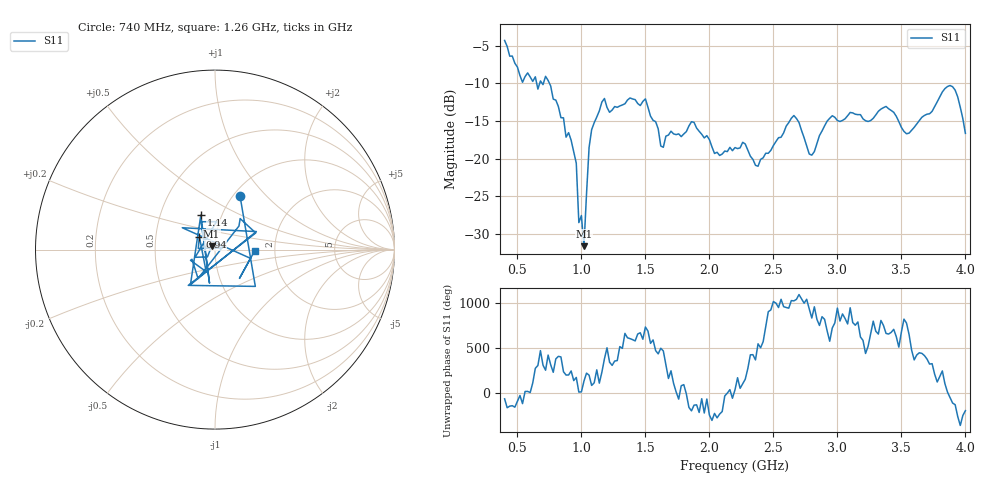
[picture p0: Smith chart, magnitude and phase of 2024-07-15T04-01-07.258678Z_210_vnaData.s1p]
!Created with skrf (http://scikit-rf.org).
# Hz S RI R 50.0
!freq ReS11 ImS11
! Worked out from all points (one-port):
!   181 points, 400 MHz to 4 GHz, reference 50 ohm
!   lowest |S11| = -31.6 dB at 1.02 GHz (marker M1), VSWR 1.05, Z = 48.1 + j1.78 ohm
!   |S11| at or under -10 dB: 650.8 MHz to 674 MHz (23.2 MHz wide, 3.5 % of centre); 693.5 MHz to 702.9 MHz (9.403 MHz wide, 1.35 % of centre); 750.7 MHz to end of sweep
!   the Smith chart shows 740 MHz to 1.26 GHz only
!   S11 on the Smith chart (normalised r, x): 740 MHz: 1.07, +0.72; 940 MHz: 0.83, +0.12; 1.14 GHz: 0.80, +0.32; 1.26 GHz: 1.57, -0.02
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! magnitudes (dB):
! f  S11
! 400 MHz  -4.3
! 540 MHz  -9.8
! 740 MHz  -9.6
! 860 MHz  -14.6
! 940 MHz  -19.0
! 960 MHz  -20.6
! 980 MHz  -28.5
! 1 GHz  -27.5
! 1.02 GHz  -31.6
! 1.06 GHz  -18.5
! 1.14 GHz  -13.6
! 1.26 GHz  -13.1
! 1.3 GHz  -13.0
! 1.5 GHz  -12.0
! 1.64 GHz  -18.5
! 1.76 GHz  -16.7
! 1.86 GHz  -15.1
! 2.04 GHz  -19.3
! 2.2 GHz  -18.5
! 2.38 GHz  -21.0
! 2.66 GHz  -14.3
! 2.8 GHz  -19.5
! 2.92 GHz  -15.0
! 3.1 GHz  -13.9
! 3.38 GHz  -13.1
! 3.56 GHz  -16.6
! 3.88 GHz  -10.3
! 4 GHz  -16.6
